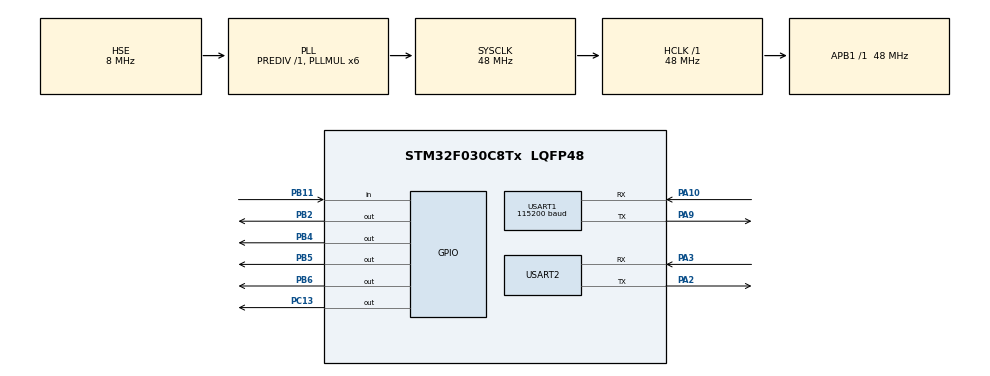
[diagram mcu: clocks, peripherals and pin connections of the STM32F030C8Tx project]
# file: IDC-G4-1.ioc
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Mcu.Family=STM32F0
Mcu.Name=STM32F030C8Tx
Mcu.Package=LQFP48
NVIC.TIM3_IRQn=true\:0\:0\:false\:false\:true\:true\:true\:true
NVIC.USART1_IRQn=true\:0\:0\:false\:false\:true\:true\:true\:true
PA10.Mode=Asynchronous
PA10.Signal=USART1_RX
PA13.Mode=Serial_Wire
PA13.Signal=SYS_SWDIO
PA14.Mode=Serial_Wire
PA14.Signal=SYS_SWCLK
PA2.Mode=Asynchronous
PA2.Signal=USART2_TX
PA3.Mode=Asynchronous
PA3.Signal=USART2_RX
PA9.Mode=Asynchronous
PA9.Signal=USART1_TX
PB11.Signal=GPIO_Input
PB2.Signal=GPIO_Output
PB4.Signal=GPIO_Output
PB5.Signal=GPIO_Output
PB6.Signal=GPIO_Output
PC13.Signal=GPIO_Output
PC14-OSC32_IN.Mode=LSE-External-Oscillator
PC14-OSC32_IN.Signal=RCC_OSC32_IN
PC15-OSC32_OUT.Mode=LSE-External-Oscillator
PC15-OSC32_OUT.Signal=RCC_OSC32_OUT
PF0-OSC_IN.Mode=HSE-External-Oscillator
PF0-OSC_IN.Signal=RCC_OSC_IN
PF1-OSC_OUT.Mode=HSE-External-Oscillator
PF1-OSC_OUT.Signal=RCC_OSC_OUT
ProjectManager.HeapSize=0x200
ProjectManager.StackSize=0x400
ProjectManager.TargetToolchain=STM32CubeIDE
RCC.AHBFreq_Value=48000000
RCC.APB1Freq_Value=48000000
RCC.APB1TimFreq_Value=48000000
RCC.EnbaleCSS=true
RCC.HCLKFreq_Value=48000000
RCC.PLLMUL=RCC_PLL_MUL6
RCC.PLLSourceVirtual=RCC_PLLSOURCE_HSE
RCC.SYSCLKFreq_VALUE=48000000
RCC.SYSCLKSource=RCC_SYSCLKSOURCE_PLLCLK
RCC.Usart1ClockSelection=RCC_USART1CLKSOURCE_SYSCLK
TIM3.AutoReloadPreload=TIM_AUTORELOAD_PRELOAD_ENABLE
TIM3.Period=999
TIM3.Prescaler=4799
USART1.BaudRate=115200
USART1.VirtualMode-Asynchronous=VM_ASYNC
USART2.VirtualMode-Asynchronous=VM_ASYNC
VP_TIM3_VS_ClockSourceINT.Mode=Internal
board=custom

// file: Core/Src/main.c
/* USER CODE BEGIN Header */
/**
  ******************************************************************************
  * @file           : main.c
  * @brief          : Main program body
  ******************************************************************************
  * @attention
  *
  * Copyright (c) 2025 STMicroelectronics.
  * All rights reserved.

  * This software is licensed under terms that can be found in the LICENSE file
  * in the root directory of this software component.
  * If no LICENSE file comes with this software, it is provided AS-IS.
  *
  ******************************************************************************
  */
/* USER CODE END Header */
#include "main.h"

/* USER CODE BEGIN Includes */
#include "SEGGER_RTT.h"
#include <stdbool.h>
#include <stdio.h>
#include "TM1638.h"
#include "TM1638_platform.h"
#include "string.h"
#include <stdbool.h>
/* USER CODE END Includes */

/* USER CODE BEGIN PD */
#define RX_BUF_SIZE 256  // 定义接收缓冲区大�???
//#define BLINK_INTERVAL 500  // 小数点闪烁间隔，单位：毫�???
/* USER CODE END PD */

/* USER CODE BEGIN PM */
  uint32_t KeyS;
  uint32_t *Keys = &KeyS; // 修正为取 KeyS 的地�????????
/* USER CODE END PM */

TIM_HandleTypeDef htim3;

UART_HandleTypeDef huart1;
UART_HandleTypeDef huart2;

/* USER CODE BEGIN PV */
volatile uint32_t timer_counter = 0; // 用于计数的变�????????

// 双缓冲区配置
#define RX_BUF_SIZE 256  // 增大缓冲区防止溢�?
uint8_t rx_buf1[RX_BUF_SIZE];
uint8_t rx_buf2[RX_BUF_SIZE];
uint8_t *active_buf = rx_buf1;
uint16_t rx_index = 0;
volatile bool buf_ready = false;
uint8_t processing_buf[RX_BUF_SIZE];

// 新增标志位，用于标记是否接收到有效的 $GNRMC 语句
bool gnrmcReceived = false;

//标志位，用于标记啥时候运行数码管的显示部�?
bool tm1638_operate = false;

// 新增变量用于存储时间信息
int hours, minutes, seconds;

// 新增变量用于记录小数点状�???
bool decimalPointState = true;

// 新增标志位，用于记录是否定位成功
bool position_3d = 0;

// 新增变量用于记录小数点闪烁计�???
volatile uint32_t blinkCounter = 0;

TM1638_Handler_t Handler;
/* USER CODE END PV */

void SystemClock_Config(void);
static void MX_GPIO_Init(void);
static void MX_USART1_UART_Init(void);
static void MX_USART2_UART_Init(void);
static void MX_TIM3_Init(void);

int main(void)
{

  /* MCU Configuration--------------------------------------------------------*/

  /* Reset of all peripherals, Initializes the Flash interface and the Systick. */
  HAL_Init();

  /* Configure the system clock */
  SystemClock_Config();

  /* Initialize all configured peripherals */
  MX_GPIO_Init();
  MX_USART1_UART_Init();
  MX_USART2_UART_Init();
  MX_TIM3_Init();
  /* USER CODE BEGIN 2 */

  TM1638_Platform_Init(&Handler);
  TM1638_Init(&Handler, TM1638DisplayTypeComAnode);
  TM1638_ConfigDisplay(&Handler, 4, TM1638DisplayStateON);

  // 使能定时器TIM3的更新中
  __HAL_TIM_ENABLE_IT(&htim3, TIM_IT_UPDATE);
  // 启动定时器TIM3，开始计
  HAL_TIM_Base_Start_IT(&htim3);
  /* USER CODE END 2 */

  /* Infinite loop */
  /* USER CODE BEGIN WHILE */
  while (1)
  {
      // 处理准备好的UART数据
       if (buf_ready) {
    	   uint32_t primask = __get_PRIMASK();  // 保存当前中断状�??//�?个时钟周�?
           __disable_irq();  // 短暂禁用中断保护缓冲区切�?//�?个时钟周�?
           memcpy(processing_buf,
                 (active_buf == rx_buf1) ? rx_buf2 : rx_buf1, //这个刚好和UART中断里面�?前一后，processing_buf会取到和中断里active_buf相反的缓冲区，不记得的时候推演一下就清晰�?
                 RX_BUF_SIZE);//memcpy(256字节)	~800时钟周期
           buf_ready = false;

           __set_PRIMASK(primask);              // 恢复中断状�??  //�?个时钟周�?
          // __enable_irq();                  // 如果是没有顺序需要的话，可以不使用__set_PRIMASK(primask); �?个时钟周�?
         //整个临界区约810个周期（17μs），远小于UART字节间隔�?115200bps时为87μs/字节�?,�?以不会丢失数据，不用保存中断状�?�直接禁�?/�?启中�? 也应该问题不�?

           // 打印原始数据（调试用�?
          // SEGGER_RTT_WriteString(0, "UART Data: ");
          // SEGGER_RTT_WriteString(0, (char*)processing_buf);

           // 解析GNRMC数据
           char* gnrmc_ptr = strstr((char*)processing_buf, "$GNRMC");
           if (gnrmc_ptr != NULL) {
               if (sscanf(gnrmc_ptr + 7, "%2d%2d%2d", &hours, &minutes, &seconds) == 3) {
             hours = (hours + 8) % 24; //切换�?下东八区
             gnrmcReceived = true;
               }
           }
       }

       if (gnrmcReceived) {

     //接收到新的消息要干的�?
           gnrmcReceived = false;
     }

if(tm1638_operate)
      {

     	    // 处理3D定位状�?�显�?
     	    TM1638_SetSingleDigit_HEX(&Handler, position_3d ? 3 : 0, 2);
     	    TM1638_SetSingleDigit_HEX(&Handler, position_3d ? 0x0D : 0, 1);

     	    // 处理按键
     	    TM1638_ScanKeys(&Handler, Keys);
     	    if (*Keys & 0x0001) {
     	        TM1638_SetSingleDigit_HEX(&Handler, 7, 0);
     	        HAL_Delay(200);
     	    }
     	    if (*Keys & 0x0002) {
     	        TM1638_SetSingleDigit(&Handler, 0, 0);
     	        HAL_Delay(200);
     	    }

     	    // 显示时间数据

     	    // 将时间显示在数码管后四位，修正显示顺�???
     	    TM1638_SetSingleDigit_HEX(&Handler, minutes % 10, 4);  // 分钟个位
     	    TM1638_SetSingleDigit_HEX(&Handler, minutes / 10, 5);  // 分钟十位
     	    //TM1638_SetSingleDigit_HEX(&Handler, hours % 10, 6);  // 小时个位
     	    // 根据小数点状态设置第 6 位小数点
     	    if (decimalPointState) {
     	        TM1638_SetSingleDigit_HEX(&Handler, hours %10 | TM1638DecimalPoint, 6);
     	    } else {
     	        TM1638_SetSingleDigit_HEX(&Handler, hours % 10, 6);
     	    }
     	    TM1638_SetSingleDigit_HEX(&Handler, hours / 10, 7);  // 小时十位

     	    decimalPointState = !decimalPointState;  // 切换小数点状,下次就会生效
     	    tm1638_operate = false;                  // �?出循环，等待TIM3�?启为True
        }
  }

    /* USER CODE END WHILE */

    /* USER CODE BEGIN 3 */
//  TM1638_DeInit(&Handler);
//  return 0;
  /* USER CODE END 3 */
}

void SystemClock_Config(void)
{
  RCC_OscInitTypeDef RCC_OscInitStruct = {0};
  RCC_ClkInitTypeDef RCC_ClkInitStruct = {0};
  RCC_PeriphCLKInitTypeDef PeriphClkInit = {0};

  /** Initializes the RCC Oscillators according to the specified parameters
  * in the RCC_OscInitTypeDef structure.
  */
  RCC_OscInitStruct.OscillatorType = RCC_OSCILLATORTYPE_HSE;
  RCC_OscInitStruct.HSEState = RCC_HSE_ON;
  RCC_OscInitStruct.PLL.PLLState = RCC_PLL_ON;
  RCC_OscInitStruct.PLL.PLLSource = RCC_PLLSOURCE_HSE;
  RCC_OscInitStruct.PLL.PLLMUL = RCC_PLL_MUL6;
  RCC_OscInitStruct.PLL.PREDIV = RCC_PREDIV_DIV1;
  if (HAL_RCC_OscConfig(&RCC_OscInitStruct) != HAL_OK)
  {
    Error_Handler();
  }

  /** Initializes the CPU, AHB and APB buses clocks
  */
  RCC_ClkInitStruct.ClockType = RCC_CLOCKTYPE_HCLK|RCC_CLOCKTYPE_SYSCLK
                              |RCC_CLOCKTYPE_PCLK1;
  RCC_ClkInitStruct.SYSCLKSource = RCC_SYSCLKSOURCE_PLLCLK;
  RCC_ClkInitStruct.AHBCLKDivider = RCC_SYSCLK_DIV1;
  RCC_ClkInitStruct.APB1CLKDivider = RCC_HCLK_DIV1;

  if (HAL_RCC_ClockConfig(&RCC_ClkInitStruct, FLASH_LATENCY_1) != HAL_OK)
  {
    Error_Handler();
  }
  PeriphClkInit.PeriphClockSelection = RCC_PERIPHCLK_USART1;
  PeriphClkInit.Usart1ClockSelection = RCC_USART1CLKSOURCE_SYSCLK;
  if (HAL_RCCEx_PeriphCLKConfig(&PeriphClkInit) != HAL_OK)
  {
    Error_Handler();
  }

  /** Enables the Clock Security System
  */
  HAL_RCC_EnableCSS();
}

static void MX_TIM3_Init(void)
{

  TIM_ClockConfigTypeDef sClockSourceConfig = {0};
  TIM_MasterConfigTypeDef sMasterConfig = {0};

  htim3.Instance = TIM3;
  htim3.Init.Prescaler = 4799;
  htim3.Init.CounterMode = TIM_COUNTERMODE_UP;
  htim3.Init.Period = 999;
  htim3.Init.ClockDivision = TIM_CLOCKDIVISION_DIV1;
  htim3.Init.AutoReloadPreload = TIM_AUTORELOAD_PRELOAD_ENABLE;
  if (HAL_TIM_Base_Init(&htim3) != HAL_OK)
  {
    Error_Handler();
  }
  sClockSourceConfig.ClockSource = TIM_CLOCKSOURCE_INTERNAL;
  if (HAL_TIM_ConfigClockSource(&htim3, &sClockSourceConfig) != HAL_OK)
  {
    Error_Handler();
  }
  sMasterConfig.MasterOutputTrigger = TIM_TRGO_RESET;
  sMasterConfig.MasterSlaveMode = TIM_MASTERSLAVEMODE_DISABLE;
  if (HAL_TIMEx_MasterConfigSynchronization(&htim3, &sMasterConfig) != HAL_OK)
  {
    Error_Handler();
  }
  /* USER CODE BEGIN TIM3_Init 2 */
  HAL_NVIC_SetPriority(TIM3_IRQn, 1, 0);
  HAL_NVIC_EnableIRQ(TIM3_IRQn);
  /* USER CODE END TIM3_Init 2 */

}

static void MX_USART1_UART_Init(void)
{

  huart1.Instance = USART1;
  huart1.Init.BaudRate = 115200;
  huart1.Init.WordLength = UART_WORDLENGTH_8B;
  huart1.Init.StopBits = UART_STOPBITS_1;
  huart1.Init.Parity = UART_PARITY_NONE;
  huart1.Init.Mode = UART_MODE_TX_RX;
  huart1.Init.HwFlowCtl = UART_HWCONTROL_NONE;
  huart1.Init.OverSampling = UART_OVERSAMPLING_16;
  huart1.Init.OneBitSampling = UART_ONE_BIT_SAMPLE_DISABLE;
  huart1.AdvancedInit.AdvFeatureInit = UART_ADVFEATURE_NO_INIT;
  if (HAL_UART_Init(&huart1) != HAL_OK)
  {
    Error_Handler();
  }
  /* USER CODE BEGIN USART1_Init 2 */
  // �???启接收中�???
  // 确保UART中断优先级高于定时器中断
  HAL_NVIC_SetPriority(USART1_IRQn, 0, 0);
  HAL_NVIC_EnableIRQ(USART1_IRQn);
  HAL_UART_Receive_IT(&huart1, &active_buf[rx_index], 1);
  /* USER CODE END USART1_Init 2 */

}

static void MX_USART2_UART_Init(void)
{

  huart2.Instance = USART2;
  huart2.Init.BaudRate = 38400;
  huart2.Init.WordLength = UART_WORDLENGTH_8B;
  huart2.Init.StopBits = UART_STOPBITS_1;
  huart2.Init.Parity = UART_PARITY_NONE;
  huart2.Init.Mode = UART_MODE_TX_RX;
  huart2.Init.HwFlowCtl = UART_HWCONTROL_NONE;
  huart2.Init.OverSampling = UART_OVERSAMPLING_16;
  huart2.Init.OneBitSampling = UART_ONE_BIT_SAMPLE_DISABLE;
  huart2.AdvancedInit.AdvFeatureInit = UART_ADVFEATURE_NO_INIT;
  if (HAL_UART_Init(&huart2) != HAL_OK)
  {
    Error_Handler();
  }

}

static void MX_GPIO_Init(void)
{
  GPIO_InitTypeDef GPIO_InitStruct = {0};

  /* GPIO Ports Clock Enable */
  __HAL_RCC_GPIOC_CLK_ENABLE();
  __HAL_RCC_GPIOF_CLK_ENABLE();
  __HAL_RCC_GPIOA_CLK_ENABLE();
  __HAL_RCC_GPIOB_CLK_ENABLE();

  /*Configure GPIO pin Output Level */
  HAL_GPIO_WritePin(GPIOC, GPIO_PIN_13, GPIO_PIN_RESET);

  /*Configure GPIO pin Output Level */
  HAL_GPIO_WritePin(GPIOB, GPIO_PIN_2|GPIO_PIN_4|GPIO_PIN_5|GPIO_PIN_6, GPIO_PIN_RESET);

  /*Configure GPIO pin : PC13 */
  GPIO_InitStruct.Pin = GPIO_PIN_13;
  GPIO_InitStruct.Mode = GPIO_MODE_OUTPUT_PP;
  GPIO_InitStruct.Pull = GPIO_NOPULL;
  GPIO_InitStruct.Speed = GPIO_SPEED_FREQ_LOW;
  HAL_GPIO_Init(GPIOC, &GPIO_InitStruct);

  /*Configure GPIO pins : PB2 PB4 PB5 PB6 */
  GPIO_InitStruct.Pin = GPIO_PIN_2|GPIO_PIN_4|GPIO_PIN_5|GPIO_PIN_6;
  GPIO_InitStruct.Mode = GPIO_MODE_OUTPUT_PP;
  GPIO_InitStruct.Pull = GPIO_NOPULL;
  GPIO_InitStruct.Speed = GPIO_SPEED_FREQ_LOW;
  HAL_GPIO_Init(GPIOB, &GPIO_InitStruct);

  /*Configure GPIO pin : PB11 */
  GPIO_InitStruct.Pin = GPIO_PIN_11;
  GPIO_InitStruct.Mode = GPIO_MODE_INPUT;
  GPIO_InitStruct.Pull = GPIO_NOPULL;
  HAL_GPIO_Init(GPIOB, &GPIO_InitStruct);

}

/* USER CODE BEGIN 4 */
// 定时器中断处理函�????????
void HAL_TIM_PeriodElapsedCallback(TIM_HandleTypeDef *htim)
{
    if (htim == &htim3) {

        timer_counter++;
        blinkCounter++;

        if (timer_counter >= 5) {
          //  SEGGER_RTT_WriteString(0, "Timer interrupt occurred!\n");
            timer_counter = 0;
            HAL_GPIO_TogglePin(GPIOC, GPIO_PIN_13);

    	    position_3d = HAL_GPIO_ReadPin(GPIOB, GPIO_PIN_11);
    	    //SEGGER_RTT_printf(0, "position_3d Voltage: %d\r\n", (int)position_3d);
        }

        if (blinkCounter >= 10) {  // 50 是主循环中的延时时间
            blinkCounter = 0;
            tm1638_operate = true;

        }

    }
}

/* UART错误处理 */
void HAL_UART_ErrorCallback(UART_HandleTypeDef *huart) {
    if (huart == &huart1) {
        uint32_t errors = huart->Instance->ISR;

        if (errors & USART_ISR_ORE) SEGGER_RTT_WriteString(0, "UART Overrun\n");
        if (errors & USART_ISR_NE) SEGGER_RTT_WriteString(0, "UART Noise\n");
        if (errors & USART_ISR_FE) SEGGER_RTT_WriteString(0, "UART Framing\n");
        if (errors & USART_ISR_PE) SEGGER_RTT_WriteString(0, "UART Parity\n");

        __HAL_UART_CLEAR_FLAG(huart, UART_CLEAR_OREF | UART_CLEAR_NEF | UART_CLEAR_FEF | UART_CLEAR_PEF);

        rx_index = 0;
        HAL_UART_Receive_IT(&huart1, &active_buf[rx_index], 1);
    }
}
// UART接收中断回调函数
/* UART中断回调 */
void HAL_UART_RxCpltCallback(UART_HandleTypeDef *huart) {
    if (huart == &huart1) {
        uint8_t byte = active_buf[rx_index];
        rx_index++;

        if (byte == '\n' || rx_index >= RX_BUF_SIZE - 1) {
            active_buf[rx_index] = '\0';
            buf_ready = true;
            rx_index = 0;
            active_buf = (active_buf == rx_buf1) ? rx_buf2 : rx_buf1;//切换缓冲�?
            SEGGER_RTT_WriteString(0, "UART Data: ");
            SEGGER_RTT_WriteString(0, (char*)active_buf);
        }

        HAL_UART_Receive_IT(&huart1, &active_buf[rx_index], 1);//继续下一个字节的接收
    }
}

/* USER CODE END 4 */

void Error_Handler(void)
{
  __disable_irq();
  while (1)
  {
  }
}
